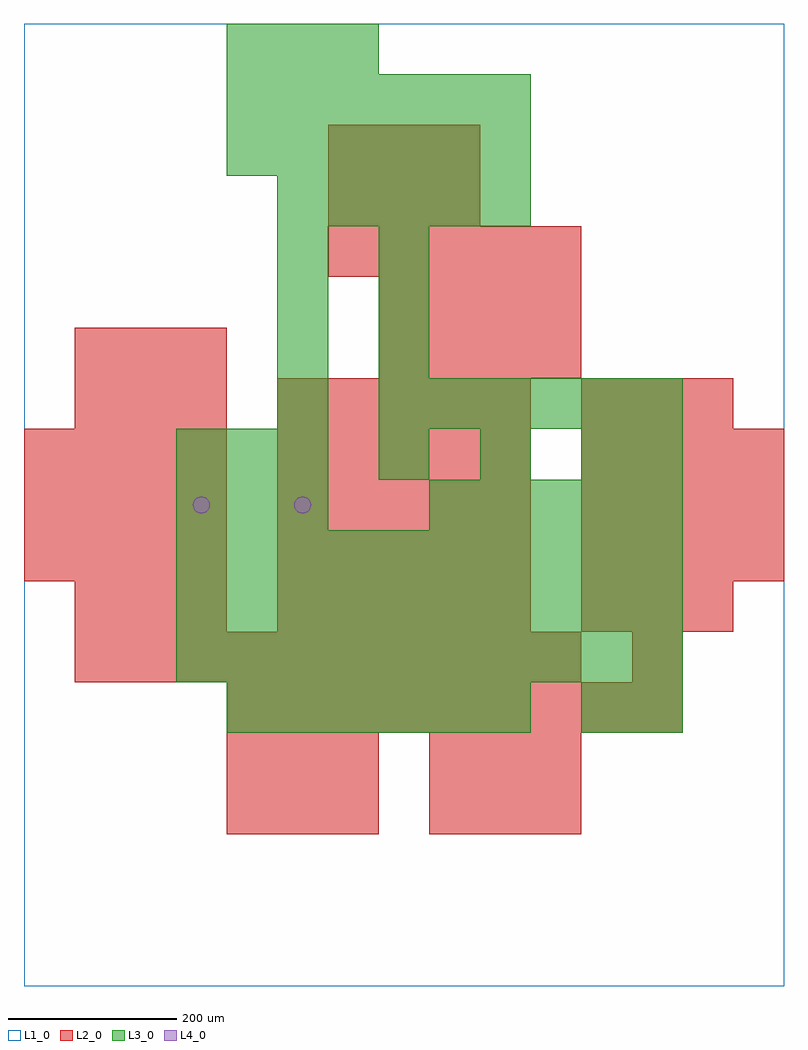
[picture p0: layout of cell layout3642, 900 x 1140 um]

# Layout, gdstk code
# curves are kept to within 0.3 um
import gdstk
lib = gdstk.Library(unit=1e-6, precision=1e-09)
def R(c, l, rs):  # rectangles x0, y0, x1, y1
    for r in rs: c.add(gdstk.rectangle(r[:2], r[2:], *l))
def A(c, l, x, y, w, h, nx, ny, dx, dy):  # array of equal rectangles
    R(c, l, [(x+i*dx, y+j*dy, x+i*dx+w, y+j*dy+h) for i in range(nx) for j in range(ny)])
def P(c, l, *ps):  # polygons
    for p in ps: c.add(gdstk.Polygon(p, *l))
L1_0 = (1, 0)
L2_0 = (2, 0)
L3_0 = (3, 0)
L4_0 = (4, 0)

layout3642 = lib.new_cell('layout3642')
R(layout3642, L1_0, [(0,0,900,1140)])
A(layout3642, L2_0, 240, 180, 60, 60, 3, 2, 60, 60)
A(layout3642, L2_0, 480, 180, 60, 60, 3, 2, 60, 60)
A(layout3642, L2_0, 240, 300, 60, 60, 9, 1, 60, 0)
A(layout3642, L2_0, 60, 360, 60, 60, 10, 1, 60, 0)
A(layout3642, L2_0, 60, 420, 60, 60, 3, 2, 60, 240)
A(layout3642, L2_0, 300, 420, 60, 60, 5, 5, 60, 60)
A(layout3642, L2_0, 660, 420, 60, 60, 3, 2, 60, 240)
A(layout3642, L2_0, 0, 480, 60, 60, 4, 3, 60, 60)
A(layout3642, L2_0, 660, 480, 60, 60, 4, 3, 60, 60)
A(layout3642, L2_0, 60, 720, 60, 60, 3, 1, 60, 0)
A(layout3642, L2_0, 420, 720, 60, 60, 4, 2, 60, 60)
A(layout3642, L2_0, 360, 840, 60, 60, 5, 1, 60, 0)
A(layout3642, L2_0, 360, 900, 60, 60, 3, 2, 60, 60)
R(layout3642, L2_0, [(720,360,780,420)])
A(layout3642, L3_0, 240, 300, 60, 60, 6, 2, 60, 660)
A(layout3642, L3_0, 180, 360, 60, 60, 10, 3, 60, 60)
A(layout3642, L3_0, 180, 540, 60, 60, 3, 2, 60, 60)
A(layout3642, L3_0, 480, 540, 60, 60, 5, 1, 60, 0)
A(layout3642, L3_0, 420, 600, 60, 60, 3, 1, 120, 0)
A(layout3642, L3_0, 300, 660, 60, 60, 1, 4, 0, 60)
A(layout3642, L3_0, 420, 660, 60, 60, 6, 1, 60, 0)
A(layout3642, L3_0, 420, 720, 60, 60, 1, 3, 0, 60)
A(layout3642, L3_0, 300, 900, 60, 60, 5, 1, 60, 0)
A(layout3642, L3_0, 240, 1020, 60, 60, 6, 1, 60, 0)
A(layout3642, L3_0, 240, 1080, 60, 60, 3, 1, 60, 0)
R(layout3642, L3_0, [(660,300,720,360), (720,300,780,360), (720,600,780,660)])
P(layout3642, L4_0, [(220,570),(219.239,573.827),(217.071,577.071),(213.827,579.239),(210,580),(206.173,579.239),(202.929,577.071),(200.761,573.827),(200,570),(200.761,566.173),(202.929,562.929),(206.173,560.761),(210,560),(213.827,560.761),(217.071,562.929),(219.239,566.173)],
  [(340,570),(339.239,573.827),(337.071,577.071),(333.827,579.239),(330,580),(326.173,579.239),(322.929,577.071),(320.761,573.827),(320,570),(320.761,566.173),(322.929,562.929),(326.173,560.761),(330,560),(333.827,560.761),(337.071,562.929),(339.239,566.173)])

lib.write_gds('layout3642.gds')
